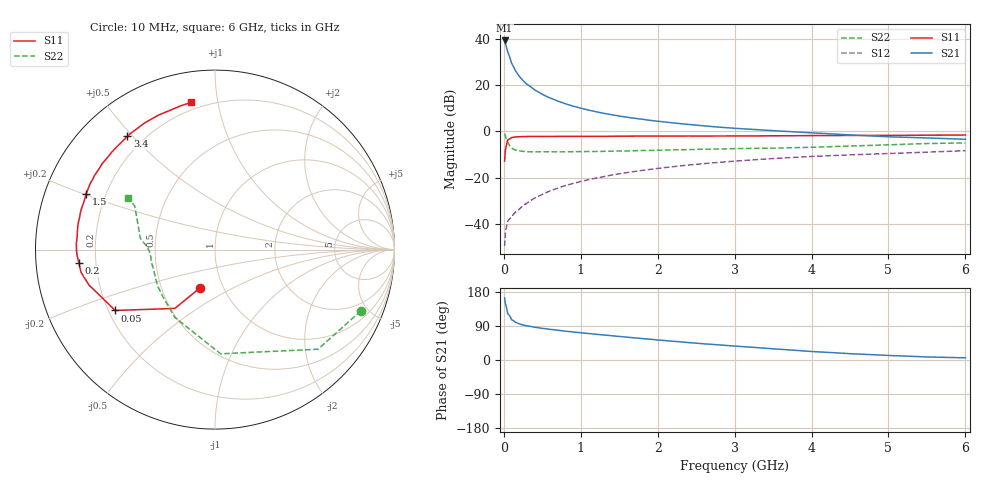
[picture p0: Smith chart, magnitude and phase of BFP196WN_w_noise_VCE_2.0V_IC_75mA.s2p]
! Infineon Technologies  Discrete & RF Semiconductors
! BFP196WN
! VCE =  2.0 V,  IC =  75 mA
! Common Emitter S-Parameters:  Jan 2017
# GHz  S  MA  R  50
!  f  S11  S21  S12  S22
! GHz  MAG  ANG  MAG  ANG  MAG  ANG  MAG  ANG
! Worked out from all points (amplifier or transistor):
!   77 points, 10 MHz to 6 GHz, reference 50 ohm
!   highest |S21| = 39.2 dB at 10 MHz (marker M1)
!   |S21| within 3 dB of that: start of sweep to 34.71 MHz
!   unconditionally stable (mu >= 1): 468.3 MHz to 2.778 GHz
!   at 130 MHz: K = 0.69, MSG = 31.7 dB, |S12| = -35.7 dB
!   at 2.2 GHz: K = 1.02, MAG = 8.6 dB, |S12| = -15.3 dB
!   at 6 GHz: K = 0.94, MSG = 2.5 dB, |S12| = -8.4 dB
!   lowest NFmin = 1.53 dB at 450 MHz
!   S11 on the Smith chart (normalised r, x): 10 MHz: 0.78, -0.35; 50 MHz: 0.23, -0.27; 200 MHz: 0.14, -0.05; 1.5 GHz: 0.13, +0.20; 3.4 GHz: 0.14, +0.48; 6 GHz: 0.16, +0.84
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0.01  0.2285 -111.3  91.54 163.7  0.0033 77.4  0.8815 -22.8
0.02  0.3964 -124.3  79.96 148.5  0.0064 67.6  0.7986 -44.0
0.05  0.6509 -148.6  52.36 122.4  0.0113 50.8  0.5815 -86.9
0.1  0.7295 -164.3  29.58 106.5  0.0142 51.4  0.4394 -120.5
0.15  0.7575 -170.5  20.41 99.6  0.0179 54.6  0.3918 -137.7
0.2  0.7619 -174.4  15.45 95.4  0.0207 60.1  0.3785 -147.4
0.25  0.7679 -177.0  12.41 92.4  0.025 62.4  0.3689 -153.3
0.3  0.7713 -179.2  10.39 90.2  0.0281 64.6  0.3627 -158.2
0.4  0.7735 177.5  7.84 86.4  0.036 67.7  0.3594 -163.7
0.5  0.7712 174.9  6.276 83.5  0.0433 69.6  0.3604 -167.6
0.6  0.7731 172.6  5.243 80.9  0.0515 70.4  0.3608 -170.6
0.7  0.7752 170.6  4.495 78.6  0.0591 71.0  0.3598 -172.6
0.8  0.7761 168.7  3.934 76.1  0.0672 71.2  0.3604 -174.1
0.9  0.7755 166.6  3.492 74.0  0.0746 70.8  0.3623 -175.4
1.1  0.7781 163.1  2.874 69.9  0.0899 70.3  0.365 -178.0
1.5  0.783 156.5  2.134 62.2  0.1205 67.7  0.3735 178.5
2.1  0.7874 147.0  1.582 51.2  0.1648 63.0  0.3935 175.2
3.1  0.7927 132.1  1.134 35.4  0.2325 53.9  0.4244 170.0
3.4  0.7974 127.7  1.056 31.1  0.2516 51.2  0.4301 167.8
4.1  0.8077 117.8  0.907 21.3  0.2904 44.7  0.4569 160.7
5.1  0.8166 107.1  0.751 11.2  0.3352 36.8  0.5164 151.1
6  0.8308 99.3  0.672 5.7  0.3811 30.8  0.5624 149.1
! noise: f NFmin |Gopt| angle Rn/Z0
0.45  1.53  0.57  -176  0.05
0.9  1.66  0.59  -169  0.06
1.9  2.6  0.7  -147  0.2
2.4  3.41  0.71  -138  0.33
